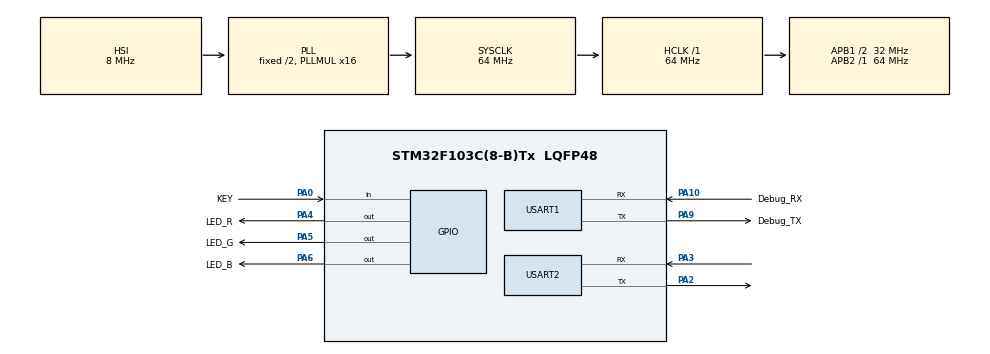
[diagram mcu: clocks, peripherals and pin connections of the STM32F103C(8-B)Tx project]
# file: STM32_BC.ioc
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Dma.Request0=USART1_TX
Dma.Request1=USART1_RX
Dma.Request2=USART2_TX
Dma.Request3=USART2_RX
Dma.USART1_RX.1.Direction=DMA_PERIPH_TO_MEMORY
Dma.USART1_RX.1.Instance=DMA1_Channel5
Dma.USART1_RX.1.MemDataAlignment=DMA_MDATAALIGN_BYTE
Dma.USART1_RX.1.MemInc=DMA_MINC_ENABLE
Dma.USART1_RX.1.Mode=DMA_NORMAL
Dma.USART1_RX.1.PeriphDataAlignment=DMA_PDATAALIGN_BYTE
Dma.USART1_RX.1.PeriphInc=DMA_PINC_DISABLE
Dma.USART1_RX.1.Priority=DMA_PRIORITY_LOW
Dma.USART1_TX.0.Direction=DMA_MEMORY_TO_PERIPH
Dma.USART1_TX.0.Instance=DMA1_Channel4
Dma.USART1_TX.0.MemDataAlignment=DMA_MDATAALIGN_BYTE
Dma.USART1_TX.0.MemInc=DMA_MINC_ENABLE
Dma.USART1_TX.0.Mode=DMA_NORMAL
Dma.USART1_TX.0.PeriphDataAlignment=DMA_PDATAALIGN_BYTE
Dma.USART1_TX.0.PeriphInc=DMA_PINC_DISABLE
Dma.USART1_TX.0.Priority=DMA_PRIORITY_LOW
Dma.USART2_RX.3.Direction=DMA_PERIPH_TO_MEMORY
Dma.USART2_RX.3.Instance=DMA1_Channel6
Dma.USART2_RX.3.MemDataAlignment=DMA_MDATAALIGN_BYTE
Dma.USART2_RX.3.MemInc=DMA_MINC_ENABLE
Dma.USART2_RX.3.Mode=DMA_NORMAL
Dma.USART2_RX.3.PeriphDataAlignment=DMA_PDATAALIGN_BYTE
Dma.USART2_RX.3.PeriphInc=DMA_PINC_DISABLE
Dma.USART2_RX.3.Priority=DMA_PRIORITY_LOW
Dma.USART2_TX.2.Direction=DMA_MEMORY_TO_PERIPH
Dma.USART2_TX.2.Instance=DMA1_Channel7
Dma.USART2_TX.2.MemDataAlignment=DMA_MDATAALIGN_BYTE
Dma.USART2_TX.2.MemInc=DMA_MINC_ENABLE
Dma.USART2_TX.2.Mode=DMA_NORMAL
Dma.USART2_TX.2.PeriphDataAlignment=DMA_PDATAALIGN_BYTE
Dma.USART2_TX.2.PeriphInc=DMA_PINC_DISABLE
Dma.USART2_TX.2.Priority=DMA_PRIORITY_LOW
Mcu.Family=STM32F1
Mcu.Name=STM32F103C(8-B)Tx
Mcu.Package=LQFP48
NVIC.DMA1_Channel4_IRQn=true\:0\:0\:false\:false\:true\:false
NVIC.DMA1_Channel5_IRQn=true\:0\:0\:false\:false\:true\:false
NVIC.DMA1_Channel6_IRQn=true\:0\:0\:false\:false\:true\:false
NVIC.DMA1_Channel7_IRQn=true\:0\:0\:false\:false\:true\:false
NVIC.PriorityGroup=NVIC_PRIORITYGROUP_4
NVIC.TIM1_UP_IRQn=true\:0\:0\:false\:false\:true\:true
NVIC.TIM2_IRQn=true\:0\:0\:false\:false\:true\:true
NVIC.USART1_IRQn=true\:0\:0\:false\:false\:true\:true
NVIC.USART2_IRQn=true\:0\:0\:false\:false\:true\:true
PA0-WKUP.GPIO_Label=KEY
PA0-WKUP.GPIO_PuPd=GPIO_PULLUP
PA0-WKUP.Signal=GPIO_Input
PA10.GPIO_Label=Debug_RX
PA10.Mode=Asynchronous
PA10.Signal=USART1_RX
PA13.Mode=Serial_Wire
PA13.Signal=SYS_JTMS-SWDIO
PA14.Mode=Serial_Wire
PA14.Signal=SYS_JTCK-SWCLK
PA2.Mode=Asynchronous
PA2.Signal=USART2_TX
PA3.Mode=Asynchronous
PA3.Signal=USART2_RX
PA4.GPIO_Label=LED_R
PA4.GPIO_Speed=GPIO_SPEED_FREQ_HIGH
PA4.PinState=GPIO_PIN_SET
PA4.Signal=GPIO_Output
PA5.GPIO_Label=LED_G
PA5.GPIO_Speed=GPIO_SPEED_FREQ_HIGH
PA5.PinState=GPIO_PIN_SET
PA5.Signal=GPIO_Output
PA6.GPIO_Label=LED_B
PA6.GPIO_Speed=GPIO_SPEED_FREQ_HIGH
PA6.PinState=GPIO_PIN_SET
PA6.Signal=GPIO_Output
PA9.GPIO_Label=Debug_TX
PA9.Mode=Asynchronous
PA9.Signal=USART1_TX
ProjectManager.HeapSize=0x200
ProjectManager.StackSize=0x400
ProjectManager.TargetToolchain=MDK-ARM V5
RCC.AHBFreq_Value=64000000
RCC.APB1CLKDivider=RCC_HCLK_DIV2
RCC.APB1Freq_Value=32000000
RCC.APB1TimFreq_Value=64000000
RCC.APB2Freq_Value=64000000
RCC.APB2TimFreq_Value=64000000
RCC.HCLKFreq_Value=64000000
RCC.PLLMUL=RCC_PLL_MUL16
RCC.SYSCLKFreq_VALUE=64000000
RCC.SYSCLKSource=RCC_SYSCLKSOURCE_PLLCLK
RCC.USBFreq_Value=64000000
TIM1.Period=1000
TIM1.Prescaler=64
TIM2.Period=1000
TIM2.Prescaler=64
USART1.VirtualMode=VM_ASYNC
USART2.VirtualMode=VM_ASYNC
VP_TIM1_VS_ClockSourceINT.Mode=Internal
VP_TIM2_VS_ClockSourceINT.Mode=Internal
board=custom

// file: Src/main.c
/* USER CODE BEGIN Header */
/**
  ******************************************************************************
  * @file           : main.c
  * @brief          : Main program body
  ******************************************************************************
  ** This notice applies to any and all portions of this file
  * that are not between comment pairs USER CODE BEGIN and
  * USER CODE END. Other portions of this file, whether
  * inserted by the user or by software development tools
  * are owned by their respective copyright owners.
  *
  * COPYRIGHT(c) 2019 STMicroelectronics
  *
  * Redistribution and use in source and binary forms, with or without modification,
  * are permitted provided that the following conditions are met:
  *   1. Redistributions of source code must retain the above copyright notice,
  *      this list of conditions and the following disclaimer.
  *   2. Redistributions in binary form must reproduce the above copyright notice,
  *      this list of conditions and the following disclaimer in the documentation
  *      and/or other materials provided with the distribution.
  *   3. Neither the name of STMicroelectronics nor the names of its contributors
  *      may be used to endorse or promote products derived from this software
  *      without specific prior written permission.
  *
  * THIS SOFTWARE IS PROVIDED BY THE COPYRIGHT HOLDERS AND CONTRIBUTORS "AS IS"
  * AND ANY EXPRESS OR IMPLIED WARRANTIES, INCLUDING, BUT NOT LIMITED TO, THE
  * IMPLIED WARRANTIES OF MERCHANTABILITY AND FITNESS FOR A PARTICULAR PURPOSE ARE
  * DISCLAIMED. IN NO EVENT SHALL THE COPYRIGHT HOLDER OR CONTRIBUTORS BE LIABLE
  * FOR ANY DIRECT, INDIRECT, INCIDENTAL, SPECIAL, EXEMPLARY, OR CONSEQUENTIAL
  * DAMAGES (INCLUDING, BUT NOT LIMITED TO, PROCUREMENT OF SUBSTITUTE GOODS OR
  * SERVICES; LOSS OF USE, DATA, OR PROFITS; OR BUSINESS INTERRUPTION) HOWEVER
  * CAUSED AND ON ANY THEORY OF LIABILITY, WHETHER IN CONTRACT, STRICT LIABILITY,
  * OR TORT (INCLUDING NEGLIGENCE OR OTHERWISE) ARISING IN ANY WAY OUT OF THE USE
  * OF THIS SOFTWARE, EVEN IF ADVISED OF THE POSSIBILITY OF SUCH DAMAGE.
  *
  ******************************************************************************
  */
/* USER CODE END Header */

#include "main.h"

/* USER CODE BEGIN Includes */
#include "DTU_SYS_Dis.h"
#include "Flash_Dis.h"
#include "ESP32_Config.h"

__IO ITStatus Uart1Ready = RESET;
__IO ITStatus Uart2Ready = RESET;
/* USER CODE END Includes */

TIM_HandleTypeDef htim1;
TIM_HandleTypeDef htim2;

UART_HandleTypeDef huart1;
UART_HandleTypeDef huart2;
DMA_HandleTypeDef hdma_usart1_tx;
DMA_HandleTypeDef hdma_usart1_rx;
DMA_HandleTypeDef hdma_usart2_tx;
DMA_HandleTypeDef hdma_usart2_rx;

void SystemClock_Config(void);
static void MX_GPIO_Init(void);
static void MX_DMA_Init(void);
static void MX_USART1_UART_Init(void);
static void MX_USART2_UART_Init(void);
static void MX_TIM1_Init(void);
static void MX_TIM2_Init(void);
static void	SystemHardware_Init(void);
static void	Uart1_Dataecho(void);
static void	Uart2_Dataecho(void);
/* USER CODE BEGIN PFP */
/***************************************************
串口数据变量定义
***************************************************/
uint8_t Uart1_Rx_Len = 0;
uint8_t Uart1_Recv_End_Flag = 0;
uint8_t Uart1_Rx_Buffer[Uart1_BUFFER_SIZE] = {0};

uint8_t Uart2_Rx_Len = 0;
uint8_t Uart2_Recv_End_Flag = 0;
uint8_t Uart2_Rx_Buffer[Uart2_BUFFER_SIZE] = {0};

/***************************************************
按键变量定义
***************************************************/
uint16_t  Time_1S_Cnt = 0;
uint8_t  Time_KEY_Cnt = 0;
/* USER CODE END PFP */

/* USER CODE BEGIN 0 */
void DMA_Usart1_Write(uint8_t *buf, uint8_t len)
{
    if(HAL_UART_Transmit_DMA(&huart1, buf, len) != HAL_OK)
    {
        Error_Handler();
    }

    /*##-3- Wait for the end of the transfer ###################################*/
    while (Uart1Ready != SET) {}

    /* Reset transmission flag */
    Uart1Ready = RESET;
}

void DMA_Usart2_Write(uint8_t *buf, uint8_t len)
{
    if(HAL_UART_Transmit_DMA(&huart2, buf, len) != HAL_OK)
    {
        Error_Handler();
    }

    /*##-3- Wait for the end of the transfer ###################################*/
    while (Uart2Ready != SET) {}

    /* Reset transmission flag */
    Uart2Ready = RESET;
}

void DMA_Usart1_Read(uint8_t *Data, uint8_t len)
{
    HAL_UART_Receive_DMA(&huart1, Data, len); //重新打开DMA接收
}

void DMA_Usart2_Read(uint8_t *Data, uint8_t len)
{
    HAL_UART_Receive_DMA(&huart2, Data, len); //重新打开DMA接收
}
/**************************************
printf函数的重定义
**************************************/
int fputc(int ch, FILE*file)
{
    return HAL_UART_Transmit(&huart1, (uint8_t*)&ch, 1, 100);
}

/**
  * @name   Print

  * @brief  USARTx打印数据

  * @param  USARTx：USARTx

  * @param  formt：打印格式

  * @param  ...：不定参数

  * @retval 无
  */
void Print(UART_HandleTypeDef * USARTx, const char *formt, ...)
{
    va_list ap;
    unsigned char buf[250];
    unsigned char *pStr = buf;
    va_start(ap, formt);
    vsnprintf((char *)buf, sizeof(buf), formt, ap);
    va_end(ap);

    while(*pStr != 0)
    {
        HAL_UART_Transmit(USARTx, (uint8_t*)pStr++, 1, 100);

        while (__HAL_UART_GET_FLAG(USARTx, UART_FLAG_TC) != SET);
    }
}

uint8_t Debug_f;
void DEBUG(const char *cmd, ...)
{
    if(1 == Debug_f)
    {
        printf("[File:%s, Line:%d]", __FILE__, __LINE__);
        va_list args;
        va_start(args, cmd);
        vprintf(cmd, args);
        va_end(args);
//     printf("\n");
    }
}

void   Uart1_Dataecho(void)
{
    if(Uart1_Recv_End_Flag == 1)
    {
        DEBUG("rx_len = %d\r\n", Uart1_Rx_Len); //打印接收长度
        DMA_Usart1_Write(Uart1_Rx_Buffer, Uart1_Rx_Len);
        Uart1_Rx_Len = 0; //清除计数
        Uart1_Recv_End_Flag = 0; //清除接收结束标志位
//				printf("%s\r\n",Uart1_Rx_Buffer);
        memset(Uart1_Rx_Buffer, 0, sizeof(Uart1_Rx_Buffer));
    }
}

void   Uart2_Dataecho(void)
{
    if(Uart2_Recv_End_Flag == 1)
    {
        DEBUG("rx_len = %d\r\n", Uart2_Rx_Len); //打印接收长度
        DMA_Usart2_Write(Uart2_Rx_Buffer, Uart2_Rx_Len);
        Uart2_Rx_Len = 0; //清除计数
        Uart2_Recv_End_Flag = 0; //清除接收结束标志位
//				printf("%s\r\n",Uart2_Rx_Buffer);
        memset(Uart2_Rx_Buffer, 0, sizeof(Uart2_Rx_Buffer));
    }
}
/**
  * @brief SYS_Init
  * @retval None
  */

static void	SystemHardware_Init(void)
{
    MX_GPIO_Init();
    MX_DMA_Init();
    MX_USART1_UART_Init();
    MX_USART2_UART_Init();
    MX_TIM1_Init();
    MX_TIM2_Init();
}

/* USER CODE END 0 */

int main(void)
{

    /* MCU Configuration--------------------------------------------------------*/

    /* Reset of all peripherals, Initializes the Flash interface and the Systick. */
    HAL_Init();											//HAL库的初始化

    /* Configure the system clock */
    SystemClock_Config();						//系统时钟初始化

    /* USER CODE BEGIN SysInit */
    SystemHardware_Init();					//系统硬件初始化
    KEY_Ready();
    /* USER CODE END SysInit */

    /* Initialize all configured peripherals */

    /* USER CODE BEGIN 2 */
    DTU_ReadFlash_SetData();		//读取Flash的信息
    DEBUG("系统初始化完成\r\n");

    /*Flash TEST*/
//	Flash_Test();
    /* USER CODE END 2 */
    /* Infinite loop */
    /* USER CODE BEGIN WHILE */
    while (1)
    {
//		Print(&huart2,"ATE0\r\n");		//开机发送关闭回显
//		HAL_Delay(1000);
//		ESP32_DataDis();
//			Print(&huart2,"AT+CWMODE=4\r\n");
//		Print(&huart2,"AT+RST\r\n");
//		HAL_Delay(5000);
//		ESP32_DataDis();
//		while(1);
//		Print(&huart2,"AT+CWMODE=3\r\n");
//		HAL_Delay(1000);
//		ESP32_DataDis();
//		Print(&huart2,"AT+CWJAP=\"WANG\",\"0123456789\"\r\n");
//		HAL_Delay(5000);
//		ESP32_DataDis();
//		Print(&huart2,"AT+CIPSTART=\"TCP\",\"192.168.43.200\",10500\r\n");
//		HAL_Delay(3000);
//		ESP32_DataDis();
//		Print(&huart2,"AT+CIPMODE=1\r\n");
//		HAL_Delay(2000);
//		ESP32_DataDis();
//		Print(&huart2,"AT+CIPSEND\r\n");
//		HAL_Delay(1000);
//		ESP32_DataDis();
//		Print(&huart2,"123456\r\n");
//		HAL_Delay(1000);
//		ESP32_DataDis();
//		Print(&huart2,"88888888\r\n");
//		HAL_Delay(1000);
//		ESP32_DataDis();
//    /* USER CODE END WHILE */
////		Uart1_Dataecho();
////		Uart2_Dataecho();
//		while(1)
//		{
//			ESP32_DataDis();
//			Print(&huart2,"88888888\r\n");
//			HAL_Delay(1000);
//		}
//			Flash_Test();
//			while(1);
        DTU_State_Dispose();
    }
}

void SystemClock_Config(void)
{
    RCC_OscInitTypeDef RCC_OscInitStruct = {0};
    RCC_ClkInitTypeDef RCC_ClkInitStruct = {0};

    /**Initializes the CPU, AHB and APB busses clocks
    */
    RCC_OscInitStruct.OscillatorType = RCC_OSCILLATORTYPE_HSI;
    RCC_OscInitStruct.HSIState = RCC_HSI_ON;
    RCC_OscInitStruct.HSICalibrationValue = RCC_HSICALIBRATION_DEFAULT;
    RCC_OscInitStruct.PLL.PLLState = RCC_PLL_ON;
    RCC_OscInitStruct.PLL.PLLSource = RCC_PLLSOURCE_HSI_DIV2;
    RCC_OscInitStruct.PLL.PLLMUL = RCC_PLL_MUL16;

    if (HAL_RCC_OscConfig(&RCC_OscInitStruct) != HAL_OK)
    {
        Error_Handler();
    }

    /**Initializes the CPU, AHB and APB busses clocks
    */
    RCC_ClkInitStruct.ClockType = RCC_CLOCKTYPE_HCLK | RCC_CLOCKTYPE_SYSCLK
                                  | RCC_CLOCKTYPE_PCLK1 | RCC_CLOCKTYPE_PCLK2;
    RCC_ClkInitStruct.SYSCLKSource = RCC_SYSCLKSOURCE_PLLCLK;
    RCC_ClkInitStruct.AHBCLKDivider = RCC_SYSCLK_DIV1;
    RCC_ClkInitStruct.APB1CLKDivider = RCC_HCLK_DIV2;
    RCC_ClkInitStruct.APB2CLKDivider = RCC_HCLK_DIV1;

    if (HAL_RCC_ClockConfig(&RCC_ClkInitStruct, FLASH_LATENCY_2) != HAL_OK)
    {
        Error_Handler();
    }
}

static void MX_TIM1_Init(void)
{

    TIM_ClockConfigTypeDef sClockSourceConfig = {0};
    TIM_MasterConfigTypeDef sMasterConfig = {0};

    htim1.Instance = TIM1;
    htim1.Init.Prescaler = 64;
    htim1.Init.CounterMode = TIM_COUNTERMODE_UP;
    htim1.Init.Period = 1000;
    htim1.Init.ClockDivision = TIM_CLOCKDIVISION_DIV1;
    htim1.Init.RepetitionCounter = 0;
    htim1.Init.AutoReloadPreload = TIM_AUTORELOAD_PRELOAD_DISABLE;

    if (HAL_TIM_Base_Init(&htim1) != HAL_OK)
    {
        Error_Handler();
    }

    HAL_TIM_Base_Start_IT(&htim1);			//开启定时器1中断

    sClockSourceConfig.ClockSource = TIM_CLOCKSOURCE_INTERNAL;

    if (HAL_TIM_ConfigClockSource(&htim1, &sClockSourceConfig) != HAL_OK)
    {
        Error_Handler();
    }

    sMasterConfig.MasterOutputTrigger = TIM_TRGO_RESET;
    sMasterConfig.MasterSlaveMode = TIM_MASTERSLAVEMODE_DISABLE;

    if (HAL_TIMEx_MasterConfigSynchronization(&htim1, &sMasterConfig) != HAL_OK)
    {
        Error_Handler();
    }

}

static void MX_TIM2_Init(void)
{

    TIM_ClockConfigTypeDef sClockSourceConfig = {0};
    TIM_MasterConfigTypeDef sMasterConfig = {0};

    htim2.Instance = TIM2;
    htim2.Init.Prescaler = 64;
    htim2.Init.CounterMode = TIM_COUNTERMODE_UP;
    htim2.Init.Period = 1000;
    htim2.Init.ClockDivision = TIM_CLOCKDIVISION_DIV1;
    htim2.Init.AutoReloadPreload = TIM_AUTORELOAD_PRELOAD_DISABLE;

    if (HAL_TIM_Base_Init(&htim2) != HAL_OK)
    {
        Error_Handler();
    }

    HAL_TIM_Base_Start_IT(&htim2);			//开启定时器1中断

    sClockSourceConfig.ClockSource = TIM_CLOCKSOURCE_INTERNAL;

    if (HAL_TIM_ConfigClockSource(&htim2, &sClockSourceConfig) != HAL_OK)
    {
        Error_Handler();
    }

    sMasterConfig.MasterOutputTrigger = TIM_TRGO_RESET;
    sMasterConfig.MasterSlaveMode = TIM_MASTERSLAVEMODE_DISABLE;

    if (HAL_TIMEx_MasterConfigSynchronization(&htim2, &sMasterConfig) != HAL_OK)
    {
        Error_Handler();
    }

}

static void MX_USART1_UART_Init(void)
{

    huart1.Instance = USART1;
    huart1.Init.BaudRate = 115200;
    huart1.Init.WordLength = UART_WORDLENGTH_8B;
    huart1.Init.StopBits = UART_STOPBITS_1;
    huart1.Init.Parity = UART_PARITY_NONE;
    huart1.Init.Mode = UART_MODE_TX_RX;
    huart1.Init.HwFlowCtl = UART_HWCONTROL_NONE;
    huart1.Init.OverSampling = UART_OVERSAMPLING_16;

    if (HAL_UART_Init(&huart1) != HAL_OK)
    {
        Error_Handler();
    }

    /* USER CODE BEGIN USART1_Init 2 */
    __HAL_UART_ENABLE_IT(&huart1, UART_IT_IDLE);          //使能UART1的IDLE中断（空闲中断）
    HAL_UART_Receive_DMA(&huart1, Uart1_Rx_Buffer, Uart1_BUFFER_SIZE); //开启一次接收
    /* USER CODE END USART1_Init 2 */

}

static void MX_USART2_UART_Init(void)
{

    huart2.Instance = USART2;
    huart2.Init.BaudRate = 115200;
    huart2.Init.WordLength = UART_WORDLENGTH_8B;
    huart2.Init.StopBits = UART_STOPBITS_1;
    huart2.Init.Parity = UART_PARITY_NONE;
    huart2.Init.Mode = UART_MODE_TX_RX;
    huart2.Init.HwFlowCtl = UART_HWCONTROL_NONE;
    huart2.Init.OverSampling = UART_OVERSAMPLING_16;

    if (HAL_UART_Init(&huart2) != HAL_OK)
    {
        Error_Handler();
    }

    /* USER CODE BEGIN USART2_Init 2 */
    __HAL_UART_ENABLE_IT(&huart2, UART_IT_IDLE);          //使能UART2的IDLE中断（空闲中断）
    HAL_UART_Receive_DMA(&huart2, Uart2_Rx_Buffer, Uart2_BUFFER_SIZE); //开启一次接收
    /* USER CODE END USART2_Init 2 */

}

static void MX_DMA_Init(void)
{
    /* DMA controller clock enable */
    __HAL_RCC_DMA1_CLK_ENABLE();

    /* DMA interrupt init */
    /* DMA1_Channel4_IRQn interrupt configuration */
    HAL_NVIC_SetPriority(DMA1_Channel4_IRQn, 0, 0);
    HAL_NVIC_EnableIRQ(DMA1_Channel4_IRQn);
    /* DMA1_Channel5_IRQn interrupt configuration */
    HAL_NVIC_SetPriority(DMA1_Channel5_IRQn, 0, 0);
    HAL_NVIC_EnableIRQ(DMA1_Channel5_IRQn);
    /* DMA1_Channel6_IRQn interrupt configuration */
    HAL_NVIC_SetPriority(DMA1_Channel6_IRQn, 0, 0);
    HAL_NVIC_EnableIRQ(DMA1_Channel6_IRQn);
    /* DMA1_Channel7_IRQn interrupt configuration */
    HAL_NVIC_SetPriority(DMA1_Channel7_IRQn, 0, 0);
    HAL_NVIC_EnableIRQ(DMA1_Channel7_IRQn);

}

static void MX_GPIO_Init(void)
{
    GPIO_InitTypeDef GPIO_InitStruct = {0};

    /* 使能GPIO的时钟 */
    __HAL_RCC_GPIOA_CLK_ENABLE();

    /*配置GPIO口默认输出的点平 */
    HAL_GPIO_WritePin(GPIOA, LED_R_Pin | LED_G_Pin | LED_B_Pin, GPIO_PIN_SET);

    /*配置按键的IO口: KEY_Pin */
    GPIO_InitStruct.Pin = KEY_Pin;
    GPIO_InitStruct.Mode = GPIO_MODE_INPUT;
    GPIO_InitStruct.Pull = GPIO_PULLUP;
    HAL_GPIO_Init(KEY_GPIO_Port, &GPIO_InitStruct);

    /*配置RGB灯的三个脚 : LED_R_Pin LED_G_Pin LED_B_Pin */
    GPIO_InitStruct.Pin = LED_R_Pin | LED_G_Pin | LED_B_Pin;
    GPIO_InitStruct.Mode = GPIO_MODE_OUTPUT_PP;
    GPIO_InitStruct.Pull = GPIO_NOPULL;
    GPIO_InitStruct.Speed = GPIO_SPEED_FREQ_HIGH;
    HAL_GPIO_Init(GPIOA, &GPIO_InitStruct);

}

/* USER CODE BEGIN 4 */
/* USER CODE BEGIN 4 */
void HAL_UART_TxCpltCallback(UART_HandleTypeDef *UartHandle)
{
    /* Set transmission flag: transfer complete */
    if(UartHandle->Instance == USART1)
        Uart1Ready = SET;

    if(UartHandle->Instance == USART2)
        Uart2Ready = SET;

}

void HAL_UART_RxCpltCallback(UART_HandleTypeDef *UartHandle)
{
    /* Set transmission flag: transfer complete */
    if(UartHandle->Instance == USART1)
        Uart1Ready = SET;

    if(UartHandle->Instance == USART2)
        Uart2Ready = SET;

//	HAL_UART_DMAStop(&huart1);
}
/* USER CODE END 4 */

void Error_Handler(void)
{
}

/************************ (C) COPYRIGHT STMicroelectronics *****END OF FILE****/
